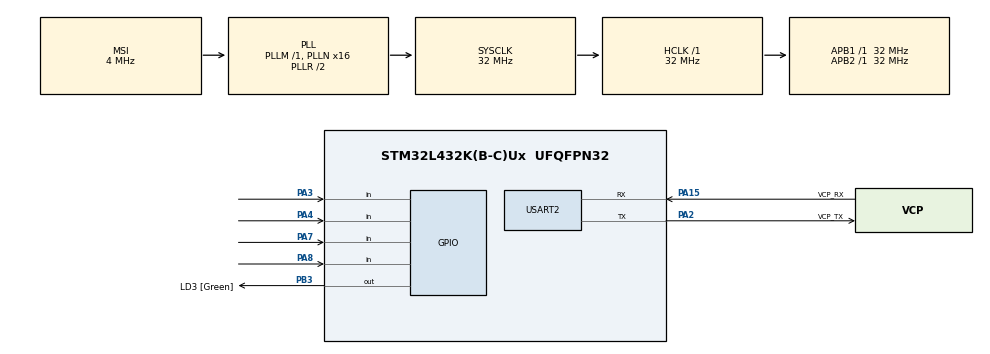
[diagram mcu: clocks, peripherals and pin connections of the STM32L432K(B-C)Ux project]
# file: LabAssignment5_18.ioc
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Mcu.Family=STM32L4
Mcu.Name=STM32L432K(B-C)Ux
Mcu.Package=UFQFPN32
NVIC.PriorityGroup=NVIC_PRIORITYGROUP_4
PA0.GPIO_Label=MCO [High speed clock in]
PA0.Mode=HSE-External-Clock-Source-for-LittleOrca
PA0.Signal=RCC_CK_IN
PA13\ (JTMS-SWDIO).GPIO_Label=SWDIO
PA13\ (JTMS-SWDIO).Mode=Serial_Wire
PA13\ (JTMS-SWDIO).Signal=SYS_JTMS-SWDIO
PA14\ (JTCK-SWCLK).GPIO_Label=SWCLK
PA14\ (JTCK-SWCLK).Mode=Serial_Wire
PA14\ (JTCK-SWCLK).Signal=SYS_JTCK-SWCLK
PA15\ (JTDI).GPIO_Label=VCP_RX
PA15\ (JTDI).Mode=Asynchronous
PA15\ (JTDI).Signal=USART2_RX
PA2.GPIO_Label=VCP_TX
PA2.Mode=Asynchronous
PA2.Signal=USART2_TX
PA3.GPIO_PuPd=GPIO_PULLUP
PA3.Signal=GPIO_Input
PA4.GPIO_PuPd=GPIO_PULLUP
PA4.Signal=GPIO_Input
PA7.GPIO_PuPd=GPIO_PULLUP
PA7.Signal=GPIO_Input
PA8.GPIO_PuPd=GPIO_PULLUP
PA8.Signal=GPIO_Input
PB3\ (JTDO-TRACESWO).GPIO_Label=LD3 [Green]
PB3\ (JTDO-TRACESWO).Signal=GPIO_Output
PC14-OSC32_IN\ (PC14).Mode=LSE-External-Oscillator
PC14-OSC32_IN\ (PC14).Signal=RCC_OSC32_IN
PC15-OSC32_OUT\ (PC15).Mode=LSE-External-Oscillator
PC15-OSC32_OUT\ (PC15).Signal=RCC_OSC32_OUT
ProjectManager.HeapSize=0x200
ProjectManager.StackSize=0x400
ProjectManager.TargetToolchain=STM32CubeIDE
RCC.AHBFreq_Value=32000000
RCC.APB1Freq_Value=32000000
RCC.APB1TimFreq_Value=32000000
RCC.APB2Freq_Value=32000000
RCC.APB2TimFreq_Value=32000000
RCC.CortexFreq_Value=32000000
RCC.HCLKFreq_Value=32000000
RCC.HSE_VALUE=8000000
RCC.HSI16_VALUE=16000000
RCC.HSI48_VALUE=48000000
RCC.HSI_VALUE=16000000
RCC.MSI_VALUE=4000000
RCC.PLLMUL=RCC_PLLMUL_4
RCC.PLLN=16
RCC.SYSCLKFreq_VALUE=32000000
RCC.SYSCLKSource=RCC_SYSCLKSOURCE_PLLCLK
RCC.VCOOutputFreq_Value=64000000
USART2.VirtualMode-Asynchronous=VM_ASYNC
board=NUCLEO-L432KC

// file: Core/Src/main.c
/* USER CODE BEGIN Header */
/**
  ******************************************************************************
  * File Name           : main.c
  * Description         : STATE 0: Ask for user GPS input
  * 					  STATE 1: Parse the GPS input using strtok
  * 					  STATE 2: output TIME information
  * 					  STATE 3: output LATITUDE information
  * 					  STATE 4: output LONGITUDE information
  * 					  STATE 5: output LATITUDE information
  *
  ******************************************************************************
  *
  *Author 				: Vaibhav Ariyur
  *Date					: April 9th 2021
  ******************************************************************************
  */
/* USER CODE END Header */
#include "main.h"
#include "debounce.h"

UART_HandleTypeDef huart2;

void SystemClock_Config(void);
static void MX_GPIO_Init(void);
static void MX_USART2_UART_Init(void);

int main(void)
{

  /* MCU Configuration--------------------------------------------------------*/

  /* Reset of all peripherals, Initializes the Flash interface and the Systick. */
  HAL_Init();

  /* Configure the system clock */
  SystemClock_Config();

  /* Initialize all configured peripherals */
  MX_GPIO_Init();
  MX_USART2_UART_Init();
  HD44780_Init();
  deBounceInit();
  /* USER CODE BEGIN 2 */
  uint8_t STATE=0;
  uint8_t pinstate1;
  uint8_t pinstate2;
  uint8_t pinstate3;
  uint8_t pinstate4;
  char GPSdata[73]={0};
  const char *delim=",";

  char *timeRaw=NULL;
  char timeProc[15]={0};
  char *latRaw=NULL;
  char latProc[16]={0};
  char *longRaw=NULL;
  char longProc[16]={0};
  char *altRaw=NULL;
  char altProc[14]={0};
  /* USER CODE END 2 */

  /* Infinite loop */
  while (1){
  {
	  switch(STATE){
	  	  //RETRIEVE DATA
	  	  case 0:
				HD44780_ClrScr();
				HD44780_GotoXY(0,0);
				HD44780_PutStr("Input GPS");
				HD44780_GotoXY(0,1);
				HD44780_PutStr("data");
	  		    printf("Input GPS data:\r\n");
	  		    scanf("%s",&GPSdata);
	  		    //printf("Inputted GPS data: %s\r\n", GPSdata);
	  		    STATE=1;
	  		    break;
	  	  //PROCESSING DATA
	  	  case 1:
				HD44780_ClrScr();
				HD44780_GotoXY(0,0);
				HD44780_PutStr("Processing Data");
				HD44780_GotoXY(0,1);
				HD44780_PutStr("...");

				printf("Processing Data... \r\n");
				strtok(GPSdata,delim);

				timeRaw=strtok(NULL,delim);
				char timeTemp[15]={timeRaw[0],timeRaw[1],'h',' ',timeRaw[2],timeRaw[3],'m',' ',timeRaw[4],timeRaw[5],timeRaw[6],timeRaw[7],timeRaw[8],'s','\0'};
				sprintf(timeProc,"%s",timeTemp);

				latRaw=strtok(NULL,delim);
				char latTemp[16]={'0',latRaw[0],latRaw[1],'d',' ',latRaw[2],
						latRaw[3],'m',' ',latRaw[5],latRaw[6],
						latRaw[7],latRaw[8],'d','d','\0'};
				sprintf(latProc,"%s",latTemp);

				strtok(NULL,delim);

				longRaw=strtok(NULL,delim);
				char longTemp[16]={longRaw[0],longRaw[1],longRaw[2],'d',' ',
						longRaw[3],longRaw[4],'m',' ',longRaw[6],longRaw[7],
						longRaw[8],longRaw[9],'d','d','\0'};
				sprintf(longProc,"%s",longTemp);

				strtok(NULL,delim);
				strtok(NULL,delim);
				strtok(NULL,delim);
				strtok(NULL,delim);

				altRaw=strtok(NULL,delim);
				sprintf(altProc,"%s metres",altRaw);
				STATE=2;
				HAL_Delay(5000);
				break;
		  //TASK SELECTION
	  	  case 2:
				HD44780_ClrScr();
				HD44780_GotoXY(0,0);
				HD44780_PutStr("1)Time 2)Latitu");
				HD44780_GotoXY(0,1);
				HD44780_PutStr("3)Longi 4)Altitu");

				printf("1)Time 2)Latitude 3)Longitude 4)Altitude \r\n");

				while(1){
					pinstate1=deBounceReadPin(GPIO_PIN_3);
					pinstate2=deBounceReadPin(GPIO_PIN_4);
					pinstate3=deBounceReadPin(GPIO_PIN_7);
					pinstate4=deBounceReadPin(GPIO_PIN_8);

					if(pinstate1==0){
						while(pinstate1==0){pinstate1=deBounceReadPin(GPIO_PIN_3);}
						STATE=3;
						break;
					}

					if(pinstate2==0){
						while(pinstate2==0){pinstate2=deBounceReadPin(GPIO_PIN_4);}
						STATE=4;
						break;
					}

					if(pinstate3==0){
						while(pinstate3==0){pinstate3=deBounceReadPin(GPIO_PIN_7);}
						STATE=5;
						break;
					}

					if(pinstate4==0){
						while(pinstate4==0){pinstate4=deBounceReadPin(GPIO_PIN_8);}
						STATE=6;
						break;
					}
				}
				break;
		  //TIME
	  	  case 3:
				HD44780_ClrScr();
				HD44780_GotoXY(0,0);
				HD44780_PutStr("Time:");
				HD44780_GotoXY(0,1);
				HD44780_PutStr(timeProc);

				printf("Time: %s\r\n",timeProc);

				HAL_Delay(5000);
				STATE=2;
				break;
		  //LATITUDE
	  	  case 4:
				HD44780_ClrScr();
				HD44780_GotoXY(0,0);
				HD44780_PutStr("Latitu:");
				HD44780_GotoXY(0,1);
				HD44780_PutStr(latProc);

				printf("Latitude: %s\r\n",latProc);

				HAL_Delay(5000);
				STATE=2;
				break;
		  //LONGITUDE
	  	  case 5:
				HD44780_ClrScr();
				HD44780_GotoXY(0,0);
				HD44780_PutStr("Longi:");
				HD44780_GotoXY(0,1);
				HD44780_PutStr(longProc);

				printf("Longitude: %s\r\n",longProc);

				HAL_Delay(5000);
				STATE=2;
				break;
		  //ALTITUDE
	  	  case 6:
				HD44780_ClrScr();
				HD44780_GotoXY(0,0);
				HD44780_PutStr("Altitu:");
				HD44780_GotoXY(0,1);
				HD44780_PutStr(altProc);

				printf("Altitude: %s\r\n",altProc);

				HAL_Delay(5000);
				STATE=2;
				break;

	  }

	  }

  }
}

void SystemClock_Config(void)
{
  RCC_OscInitTypeDef RCC_OscInitStruct = {0};
  RCC_ClkInitTypeDef RCC_ClkInitStruct = {0};
  RCC_PeriphCLKInitTypeDef PeriphClkInit = {0};

  /** Configure LSE Drive Capability
  */
  HAL_PWR_EnableBkUpAccess();
  __HAL_RCC_LSEDRIVE_CONFIG(RCC_LSEDRIVE_LOW);
  /** Initializes the RCC Oscillators according to the specified parameters
  * in the RCC_OscInitTypeDef structure.
  */
  RCC_OscInitStruct.OscillatorType = RCC_OSCILLATORTYPE_LSE|RCC_OSCILLATORTYPE_MSI;
  RCC_OscInitStruct.LSEState = RCC_LSE_ON;
  RCC_OscInitStruct.MSIState = RCC_MSI_ON;
  RCC_OscInitStruct.MSICalibrationValue = 0;
  RCC_OscInitStruct.MSIClockRange = RCC_MSIRANGE_6;
  RCC_OscInitStruct.PLL.PLLState = RCC_PLL_ON;
  RCC_OscInitStruct.PLL.PLLSource = RCC_PLLSOURCE_MSI;
  RCC_OscInitStruct.PLL.PLLM = 1;
  RCC_OscInitStruct.PLL.PLLN = 16;
  RCC_OscInitStruct.PLL.PLLP = RCC_PLLP_DIV7;
  RCC_OscInitStruct.PLL.PLLQ = RCC_PLLQ_DIV2;
  RCC_OscInitStruct.PLL.PLLR = RCC_PLLR_DIV2;
  if (HAL_RCC_OscConfig(&RCC_OscInitStruct) != HAL_OK)
  {
    Error_Handler();
  }
  /** Initializes the CPU, AHB and APB buses clocks
  */
  RCC_ClkInitStruct.ClockType = RCC_CLOCKTYPE_HCLK|RCC_CLOCKTYPE_SYSCLK
                              |RCC_CLOCKTYPE_PCLK1|RCC_CLOCKTYPE_PCLK2;
  RCC_ClkInitStruct.SYSCLKSource = RCC_SYSCLKSOURCE_PLLCLK;
  RCC_ClkInitStruct.AHBCLKDivider = RCC_SYSCLK_DIV1;
  RCC_ClkInitStruct.APB1CLKDivider = RCC_HCLK_DIV1;
  RCC_ClkInitStruct.APB2CLKDivider = RCC_HCLK_DIV1;

  if (HAL_RCC_ClockConfig(&RCC_ClkInitStruct, FLASH_LATENCY_1) != HAL_OK)
  {
    Error_Handler();
  }
  PeriphClkInit.PeriphClockSelection = RCC_PERIPHCLK_USART2;
  PeriphClkInit.Usart2ClockSelection = RCC_USART2CLKSOURCE_PCLK1;
  if (HAL_RCCEx_PeriphCLKConfig(&PeriphClkInit) != HAL_OK)
  {
    Error_Handler();
  }
  /** Configure the main internal regulator output voltage
  */
  if (HAL_PWREx_ControlVoltageScaling(PWR_REGULATOR_VOLTAGE_SCALE1) != HAL_OK)
  {
    Error_Handler();
  }
  /** Enable MSI Auto calibration
  */
  HAL_RCCEx_EnableMSIPLLMode();
}

static void MX_USART2_UART_Init(void)
{

  huart2.Instance = USART2;
  huart2.Init.BaudRate = 115200;
  huart2.Init.WordLength = UART_WORDLENGTH_8B;
  huart2.Init.StopBits = UART_STOPBITS_1;
  huart2.Init.Parity = UART_PARITY_NONE;
  huart2.Init.Mode = UART_MODE_TX_RX;
  huart2.Init.HwFlowCtl = UART_HWCONTROL_NONE;
  huart2.Init.OverSampling = UART_OVERSAMPLING_16;
  huart2.Init.OneBitSampling = UART_ONE_BIT_SAMPLE_DISABLE;
  huart2.AdvancedInit.AdvFeatureInit = UART_ADVFEATURE_NO_INIT;
  if (HAL_UART_Init(&huart2) != HAL_OK)
  {
    Error_Handler();
  }

}

static void MX_GPIO_Init(void)
{
  GPIO_InitTypeDef GPIO_InitStruct = {0};

  /* GPIO Ports Clock Enable */
  __HAL_RCC_GPIOC_CLK_ENABLE();
  __HAL_RCC_GPIOA_CLK_ENABLE();
  __HAL_RCC_GPIOB_CLK_ENABLE();

  /*Configure GPIO pin Output Level */
  HAL_GPIO_WritePin(LD3_GPIO_Port, LD3_Pin, GPIO_PIN_RESET);

  /*Configure GPIO pins : PA3 PA4 PA7 PA8 */
  GPIO_InitStruct.Pin = GPIO_PIN_3|GPIO_PIN_4|GPIO_PIN_7|GPIO_PIN_8;
  GPIO_InitStruct.Mode = GPIO_MODE_INPUT;
  GPIO_InitStruct.Pull = GPIO_PULLUP;
  HAL_GPIO_Init(GPIOA, &GPIO_InitStruct);

  /*Configure GPIO pin : LD3_Pin */
  GPIO_InitStruct.Pin = LD3_Pin;
  GPIO_InitStruct.Mode = GPIO_MODE_OUTPUT_PP;
  GPIO_InitStruct.Pull = GPIO_NOPULL;
  GPIO_InitStruct.Speed = GPIO_SPEED_FREQ_LOW;
  HAL_GPIO_Init(LD3_GPIO_Port, &GPIO_InitStruct);

}

void Error_Handler(void)
{
  __disable_irq();
  while (1)
  {
  }
}

/************************ (C) COPYRIGHT STMicroelectronics *****END OF FILE****/
